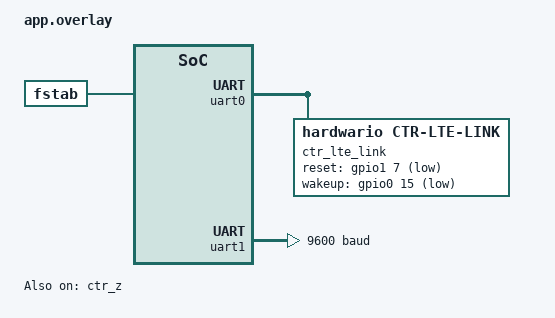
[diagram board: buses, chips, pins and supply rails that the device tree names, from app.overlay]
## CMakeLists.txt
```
#
# Copyright (c) 2024 HARDWARIO a.s.
#
# SPDX-License-Identifier: LicenseRef-HARDWARIO-5-Clause
#

cmake_minimum_required(VERSION 3.20.0)

set(ENV{FW_BUNDLE} "com.hardwario.chester.app.wmbus")
set(ENV{FW_NAME} "CHESTER wM-Bus")

# Derive firmware version from git (see scripts/version.cmake); the fallback is
# used when git is unavailable at build time.
set(FW_VERSION_FALLBACK "v3.4.0")
include(${CMAKE_CURRENT_SOURCE_DIR}/../../scripts/version.cmake)

find_package(Zephyr REQUIRED HINTS $ENV{ZEPHYR_BASE})

project(chester-wmbus)

include(${ZEPHYR_CHESTER_MODULE_DIR}/scripts/app_codec.cmake)

target_sources(app PRIVATE src/app_cbor.c)
target_sources(app PRIVATE src/app_config.c)
target_sources(app PRIVATE src/app_data.c)
target_sources(app PRIVATE src/app_handler.c)
target_sources(app PRIVATE src/app_init.c)
target_sources(app PRIVATE src/app_send.c)
target_sources(app PRIVATE src/app_sensor.c)
target_sources(app PRIVATE src/app_shell.c)
target_sources(app PRIVATE src/app_work.c)
target_sources(app PRIVATE src/main.c)
target_sources(app PRIVATE src/packet.c)
target_sources(app PRIVATE src/wmbus.c)

target_precompile_headers(app PRIVATE src/feature.h)

# ### Preserved code "cmake" (begin)
# ^^^ Preserved code "cmake" (end)
```

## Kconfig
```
#
# Copyright (c) 2024 HARDWARIO a.s.
#
# SPDX-License-Identifier: LicenseRef-HARDWARIO-5-Clause
#

menu "Application"

# HARDWARE-CHESTER-Z
config SHIELD_CTR_Z
	bool "Enable SHIELD_CTR_Z"
	default y

config CTR_Z
	default y

config I2C
	default y
# SUBSYSTEM-LTE-V2
config SHIELD_CTR_LTE_V2
	bool "Enable SHIELD_CTR_LTE_V2"
	default y

config CTR_LTE_V2
	default y

# ### Preserved code "k_config" (begin)
# ^^^ Preserved code "k_config" (end)

rsource "Kconfig.variant"

endmenu

menu "Zephyr Kernel"
source "Kconfig.zephyr"
endmenu
```

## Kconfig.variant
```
#
# Copyright (c) 2024 HARDWARIO a.s.
#
# SPDX-License-Identifier: LicenseRef-HARDWARIO-5-Clause
#

config VARIANT_CHESTER_WM_BUS
    bool "Enable VARIANT_CHESTER_WM_BUS"
    default y
```

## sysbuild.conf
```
SB_CONFIG_BOOTLOADER_MCUBOOT=y
SB_CONFIG_MCUBOOT_MODE_SWAP_SCRATCH=y
SB_CONFIG_MERGED_HEX_FILES=y
```

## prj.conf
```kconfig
#
# Copyright (c) 2024 HARDWARIO a.s.
#
# SPDX-License-Identifier: LicenseRef-HARDWARIO-5-Clause
#

# Configurations
# SUBSYSTEM-ACCEL
CONFIG_CTR_ACCEL=y
# SUBSYSTEM-BATT
CONFIG_CTR_BATT=y
# SUBSYSTEM-BLUETOOTH
CONFIG_CTR_BLE=y
# SUBSYSTEM-BUF
CONFIG_CTR_BUF=y
# SUBSYSTEM-BUTTON
CONFIG_CTR_BUTTON=y
# SUBSYSTEM-CLOUD
CONFIG_CTR_CLOUD=y
CONFIG_SETTINGS_SHELL=y
CONFIG_IMG_MANAGER=y
CONFIG_BOOTLOADER_MCUBOOT=y
CONFIG_SPI=y
CONFIG_DFU_TARGET=y
CONFIG_DFU_TARGET_STREAM=y
CONFIG_DFU_TARGET_MCUBOOT=y
CONFIG_DFU_TARGET_LOG_LEVEL_DBG=y
CONFIG_STREAM_FLASH_ERASE=y
CONFIG_STREAM_FLASH=y
CONFIG_FILE_SYSTEM=y
CONFIG_FILE_SYSTEM_LITTLEFS=y
CONFIG_FILE_SYSTEM_MKFS=y
CONFIG_FILE_SYSTEM_SHELL=y
CONFIG_SETTINGS_FILE=y
CONFIG_SETTINGS_FILE_PATH="/lfs1/settings/run"
# SUBSYSTEM-DEFAULTS
CONFIG_CTR_DEFAULTS=y
# SUBSYSTEM-GPIO
CONFIG_CTR_GPIO=y
# SUBSYSTEM-INFO
CONFIG_CTR_INFO=y
# SUBSYSTEM-LED
CONFIG_CTR_LED=y
# SUBSYSTEM-LOG
CONFIG_CTR_LOG=y
# SUBSYSTEM-LTE-V2
CONFIG_CTR_LTE_V2=y
# SUBSYSTEM-POWER
CONFIG_CTR_POWER=y
# SUBSYSTEM-RTC
CONFIG_CTR_RTC=y
# SUBSYSTEM-SHELL
CONFIG_CTR_SHELL=y
# SUBSYSTEM-THERM
CONFIG_CTR_THERM=y
# SUBSYSTEM-WDOG
CONFIG_CTR_WDOG=y
# SUBSYSTEM-ZCBOR
CONFIG_ZCBOR=y
CONFIG_ZCBOR_STOP_ON_ERROR=y
# Extra configurations
CONFIG_GPIO_SHELL=y
CONFIG_I2C_SHELL=y
CONFIG_ISR_TABLES_LOCAL_DECLARATION=y
CONFIG_LTO=y
CONFIG_MCUBOOT_SHELL=y

# ### Preserved code "config" (begin)
CONFIG_BUILD_OUTPUT_META=y
CONFIG_BUILD_OUTPUT_META_STATE_PROPAGATE=y
CONFIG_HWINFO=y
CONFIG_UART_INTERRUPT_DRIVEN=y
CONFIG_UART_0_INTERRUPT_DRIVEN=n
CONFIG_UART_USE_RUNTIME_CONFIGURE=y
CONFIG_SERIAL=y
CONFIG_PM_DEVICE=y
CONFIG_SYS_HEAP_RUNTIME_STATS=y
CONFIG_SYS_HEAP_INFO=y
# ^^^ Preserved code "config" (end)
```

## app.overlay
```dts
/*
 * Copyright (c) 2024 HARDWARIO a.s.
 *
 * SPDX-License-Identifier: LicenseRef-HARDWARIO-5-Clause
 */

/* HARDWARE-CHESTER-Z  */
&ctr_z {
	status = "okay";
};
/* SUBSYSTEM-CLOUD  */
/ {
	fstab {
		compatible = "zephyr,fstab";
		lfs1: lfs1 {
			compatible = "zephyr,fstab,littlefs";
			mount-point = "/lfs1";
			partition = <&littlefs_storage>;
			automount;
			read-size = <16>;
			prog-size = <16>;
			cache-size = <64>;
			lookahead-size = <32>;
			block-cycles = <512>;
		};
	};
};
/* SUBSYSTEM-LTE-V2  */
/ {
	chosen {
		ctr,lte_link = &ctr_lte_link;
	};
};

&uart0 {
	status = "okay";

	ctr_lte_link: ctr_lte_link {
		compatible = "hardwario,ctr-lte-link";
		status = "okay";
		reset-gpios = <&gpio1 7 (GPIO_ACTIVE_LOW | GPIO_OPEN_DRAIN)>;
		wakeup-gpios = <&gpio0 15 (GPIO_ACTIVE_LOW | GPIO_OPEN_DRAIN)>;
	};
};

&uart0 {
	status = "okay";
};

/* ### Preserved code "overlay" (begin) */
&uart1 {
	current-speed = <9600>;
	status = "okay";
};

/* CHESTER-U1 to Wurth module pin definitions */
&pinctrl {
	uart1_default: uart1_default {
		group1 {
			psels = <NRF_PSEL(UART_TX, 0, 30)>;
		};
		group2 {
			psels = <NRF_PSEL(UART_RX, 0, 28)>;
			bias-pull-up;
		};
	};

	uart1_sleep: uart1_sleep {
		group1 {
			psels = <NRF_PSEL(UART_TX, 0, 30)>,
					<NRF_PSEL(UART_RX, 0, 28)>;
			low-power-enable;
		};
	};
};
/* ^^^ Preserved code "overlay" (end) */
```

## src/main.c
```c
/*
 * Copyright (c) 2024 HARDWARIO a.s.
 *
 * SPDX-License-Identifier: LicenseRef-HARDWARIO-5-Clause
 */

#include "app_init.h"
#include "app_config.h"

/* CHESTER includes */
#include <chester/ctr_led.h>
#include <chester/ctr_wdog.h>
#include <chester/ctr_cloud.h>
#include <chester/ctr_rtc.h>

/* Zephyr includes */
#include <zephyr/kernel.h>
#include <zephyr/logging/log.h>

/* Standard includes */
#include <stdbool.h>

LOG_MODULE_REGISTER(main, LOG_LEVEL_DBG);

extern struct ctr_wdog_channel g_app_wdog_channel;

static bool should_feed_watchdog(void);

int main(void)
{
	int ret;

	LOG_INF("Build time: " __DATE__ " " __TIME__);

	ret = app_init();
	if (ret) {
		LOG_ERR("Call `app_init` failed: %d", ret);
		k_oops();
	}

	for (;;) {
		k_sleep(K_SECONDS(5));
		LOG_INF("Alive");

		if (should_feed_watchdog()) {
			ret = ctr_wdog_feed(&g_app_wdog_channel);
			if (ret) {
				LOG_ERR("Call `ctr_wdog_feed` failed: %d", ret);
				k_oops();
			}
		}
	}

	return 0;
}

static bool should_feed_watchdog(void)
{

#if defined(FEATURE_SUBSYSTEM_LTE_V2)
	int ret;

	if (g_app_config.mode == APP_CONFIG_MODE_LTE) {

		if (g_app_config.downlink_wdg_interval) {
			int64_t downlink_ts;
			ret = ctr_cloud_get_last_seen_ts(&downlink_ts);

			if (ret) {
				LOG_WRN("No downlink timestamp");
				return false;
			}

			int64_t current_ts;
			ret = ctr_rtc_get_ts(&current_ts);
			if (ret) {
				LOG_ERR("Call `ctr_rtc_get_ts` failed: %d", ret);
				return false;
			}

			int64_t diff_ts = current_ts - downlink_ts;
			if (diff_ts > g_app_config.downlink_wdg_interval) {
				LOG_WRN("Downlink ts bigger than interval! %lld", diff_ts);
				return false;
			}
		}
	}
#endif /* defined(FEATURE_SUBSYSTEM_LTE_V2) */

	return true;
}
```

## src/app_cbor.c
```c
/*
 * Copyright (c) 2024 HARDWARIO a.s.
 *
 * SPDX-License-Identifier: LicenseRef-HARDWARIO-5-Clause
 */

#include "app_cbor.h"
#include "app_codec.h"
#include "app_config.h"
#include "app_data.h"
#include "packet.h"

/* CHESTER includes */
#include <chester/ctr_info.h>
#include <chester/ctr_lte_v2.h>
#include <chester/ctr_power.h>
#include <chester/ctr_rtc.h>

/* Zephyr includes */
#include <zephyr/kernel.h>
#include <zephyr/logging/log.h>

#include <zcbor_common.h>
#include <zcbor_encode.h>

/* Standard includes */
#include <errno.h>
#include <math.h>
#include <stddef.h>
#include <stdint.h>
#include <stdlib.h>

LOG_MODULE_REGISTER(app_cbor, LOG_LEVEL_DBG);

int encode(zcbor_state_t *zs, uint8_t *buf)
{
	int ret;

	zs->constant_state->stop_on_error = true;

	zcbor_map_start_encode(zs, ZCBOR_VALUE_IS_INDEFINITE_LENGTH);

	zcbor_uint32_put(zs, CODEC_KEY_E_FRAME);
	{
		zcbor_map_start_encode(zs, ZCBOR_VALUE_IS_INDEFINITE_LENGTH);

		uint8_t protocol = 3;
		zcbor_uint32_put(zs, CODEC_KEY_E_FRAME__PROTOCOL);
		zcbor_uint32_put(zs, protocol);

		static uint32_t sequence;
		zcbor_uint32_put(zs, CODEC_KEY_E_FRAME__SEQUENCE);
		zcbor_uint32_put(zs, sequence++);

		uint64_t timestamp;
		ret = ctr_rtc_get_ts(&timestamp);
		if (ret) {
			LOG_ERR("Call `ctr_rtc_get_ts` failed: %d", ret);
			return ret;
		}

		zcbor_uint32_put(zs, CODEC_KEY_E_FRAME__TIMESTAMP);
		zcbor_uint64_put(zs, timestamp);

		zcbor_map_end_encode(zs, ZCBOR_VALUE_IS_INDEFINITE_LENGTH);
	}

	zcbor_uint32_put(zs, CODEC_KEY_E_STATE);
	{
		zcbor_map_start_encode(zs, ZCBOR_VALUE_IS_INDEFINITE_LENGTH);

		zcbor_uint32_put(zs, CODEC_KEY_E_STATE__UPTIME);
		zcbor_uint64_put(zs, k_uptime_get() / 1000);

		zcbor_map_end_encode(zs, ZCBOR_VALUE_IS_INDEFINITE_LENGTH);
	}

#if defined(FEATURE_SUBSYSTEM_POWER)
	ret = ctr_power_cbor_encode(zs);
	if (ret) {
		LOG_ERR("Call `ctr_power_cbor_encode` failed: %d", ret);
		return ret;
	}
#endif /* defined(FEATURE_SUBSYSTEM_POWER) */

	zcbor_uint32_put(zs, CODEC_KEY_E_NETWORK);
	{
		zcbor_map_start_encode(zs, ZCBOR_VALUE_IS_INDEFINITE_LENGTH);

		zcbor_uint32_put(zs, CODEC_KEY_E_NETWORK__PARAMETER);
		{
			zcbor_map_start_encode(zs, ZCBOR_VALUE_IS_INDEFINITE_LENGTH);

			struct ctr_lte_v2_conn_param param;
			ret = ctr_lte_v2_get_conn_param(&param);
			if (ret) {
				LOG_ERR("Call `ctr_lte_v2_get_conn_param` failed: %d", ret);
				return ret;
			}

			zcbor_uint32_put(zs, CODEC_KEY_E_NETWORK__PARAMETER__EEST);
			if (param.valid) {
				zcbor_int32_put(zs, param.eest);
			} else {
				zcbor_nil_put(zs, NULL);
			}

			zcbor_uint32_put(zs, CODEC_KEY_E_NETWORK__PARAMETER__ECL);
			if (param.valid) {
				zcbor_int32_put(zs, param.ecl);
			} else {
				zcbor_nil_put(zs, NULL);
			}

			zcbor_uint32_put(zs, CODEC_KEY_E_NETWORK__PARAMETER__RSRP);
			if (param.valid) {
				zcbor_int32_put(zs, param.rsrp);
			} else {
				zcbor_nil_put(zs, NULL);
			}

			zcbor_uint32_put(zs, CODEC_KEY_E_NETWORK__PARAMETER__RSRQ);
			if (param.valid) {
				zcbor_int32_put(zs, param.rsrq);
			} else {
				zcbor_nil_put(zs, NULL);
			}

			zcbor_uint32_put(zs, CODEC_KEY_E_NETWORK__PARAMETER__SNR);
			if (param.valid) {
				zcbor_int32_put(zs, param.snr);
			} else {
				zcbor_nil_put(zs, NULL);
			}

			zcbor_uint32_put(zs, CODEC_KEY_E_NETWORK__PARAMETER__PLMN);
			if (param.valid) {
				zcbor_int32_put(zs, param.plmn);
			} else {
				zcbor_nil_put(zs, NULL);
			}

			zcbor_uint32_put(zs, CODEC_KEY_E_NETWORK__PARAMETER__CID);
			if (param.valid) {
				zcbor_int32_put(zs, param.cid);
			} else {
				zcbor_nil_put(zs, NULL);
			}

			zcbor_uint32_put(zs, CODEC_KEY_E_NETWORK__PARAMETER__BAND);
			if (param.valid) {
				zcbor_int32_put(zs, param.band);
			} else {
				zcbor_nil_put(zs, NULL);
			}

			zcbor_uint32_put(zs, CODEC_KEY_E_NETWORK__PARAMETER__EARFCN);
			if (param.valid) {
				zcbor_int32_put(zs, param.earfcn);
			} else {
				zcbor_nil_put(zs, NULL);
			}

			zcbor_map_end_encode(zs, ZCBOR_VALUE_IS_INDEFINITE_LENGTH);
		}

		zcbor_map_end_encode(zs, ZCBOR_VALUE_IS_INDEFINITE_LENGTH);
	}

	zcbor_uint32_put(zs, CODEC_KEY_E_THERMOMETER);
	{
		zcbor_map_start_encode(zs, ZCBOR_VALUE_IS_INDEFINITE_LENGTH);

		zcbor_uint32_put(zs, CODEC_KEY_E_THERMOMETER__TEMPERATURE);
		if (isnan(g_app_data.therm_temperature)) {
			zcbor_nil_put(zs, NULL);
		} else {
			zcbor_int32_put(zs, g_app_data.therm_temperature * 100.f);
		}

		zcbor_map_end_encode(zs, ZCBOR_VALUE_IS_INDEFINITE_LENGTH);
	}

	zcbor_uint32_put(zs, CODEC_KEY_E_ACCELEROMETER);
	{
		zcbor_map_start_encode(zs, ZCBOR_VALUE_IS_INDEFINITE_LENGTH);

		zcbor_uint32_put(zs, CODEC_KEY_E_ACCELEROMETER__ACCEL_X);
		if (isnan(g_app_data.accel_acceleration_x)) {
			zcbor_nil_put(zs, NULL);
		} else {
			zcbor_int32_put(zs, g_app_data.accel_acceleration_x * 1000.f);
		}

		zcbor_uint32_put(zs, CODEC_KEY_E_ACCELEROMETER__ACCEL_Y);
		if (isnan(g_app_data.accel_acceleration_y)) {
			zcbor_nil_put(zs, NULL);
		} else {
			zcbor_int32_put(zs, g_app_data.accel_acceleration_y * 1000.f);
		}

		zcbor_uint32_put(zs, CODEC_KEY_E_ACCELEROMETER__ACCEL_Z);
		if (isnan(g_app_data.accel_acceleration_z)) {
			zcbor_nil_put(zs, NULL);
		} else {
			zcbor_int32_put(zs, g_app_data.accel_acceleration_z * 1000.f);
		}

		zcbor_uint32_put(zs, CODEC_KEY_E_ACCELEROMETER__ORIENTATION);
		if (g_app_data.accel_orientation == INT_MAX) {
			zcbor_nil_put(zs, NULL);
		} else {
			zcbor_uint32_put(zs, g_app_data.accel_orientation);
		}

		zcbor_map_end_encode(zs, ZCBOR_VALUE_IS_INDEFINITE_LENGTH);
	}

	zcbor_uint32_put(zs, CODEC_KEY_E_WMBUS);
	{
		zcbor_map_start_encode(zs, ZCBOR_VALUE_IS_INDEFINITE_LENGTH);

		/*zcbor_uint32_put(zs, CODEC_KEY_E_WMBUS__SCAN_MODE);
		zcbor_uint32_put(zs, g_app_config.scan_mode);

		zcbor_uint32_put(zs, CODEC_KEY_E_WMBUS__SCAN_ANT);
		zcbor_uint32_put(zs, g_app_config.scan_ant);*/

		uint32_t diff_secs =
			(g_app_data.scan_stop_timestamp - g_app_data.scan_start_timestamp) / 1000;
		zcbor_uint32_put(zs, CODEC_KEY_E_WMBUS__SCAN_TIME);
		zcbor_uint32_put(zs, diff_secs);

		size_t packet_pushed_count;
		packet_get_pushed_count(&packet_pushed_count);
		zcbor_uint32_put(zs, CODEC_KEY_E_WMBUS__RECEIVED);
		zcbor_uint32_put(zs, packet_pushed_count);

		size_t config_device_count;
		wmbus_get_config_device_count(&config_device_count);
		zcbor_uint32_put(zs, CODEC_KEY_E_WMBUS__DEVICES);
		zcbor_uint32_put(zs, config_device_count);

		atomic_val_t tran_count = atomic_get(&g_app_data.scan_transaction);
		zcbor_uint32_put(zs, CODEC_KEY_E_WMBUS__CYCLE);
		zcbor_uint32_put(zs, tran_count);

		atomic_val_t index = atomic_get(&g_app_data.send_index);
		zcbor_uint32_put(zs, CODEC_KEY_E_WMBUS__PART);
		zcbor_uint32_put(zs, index);

		static uint8_t packet[512];

		// Add 20 wM-BUS packets to every LTE packet
		if (g_app_config.cloud_decode) {
			zcbor_uint32_put(zs, CODEC_KEY_E_WMBUS__PACKETS_CLOUD_DECODE);
			{
				zcbor_list_start_encode(zs, ZCBOR_VALUE_IS_INDEFINITE_LENGTH);

				for (int i = 0; i < 20; i++) {
					size_t next_size;
					ret = packet_get_next_size(&next_size);
					if (next_size == 0) {
						LOG_INF("packet_get_next_size == 0 -> break");
						break;
					}

					size_t len;
					int rssi_dbm;
					ret = packet_pop(packet, sizeof(packet), &len, &rssi_dbm);
					LOG_INF("packet_pop size %d, rssi %d", (int)len, rssi_dbm);
					if (!ret) {
						zcbor_int32_put(zs, rssi_dbm);
						zcbor_bstr_encode_ptr(zs, packet,
								      len > 512 ? 512 : len);
					}
				}

				zcbor_list_end_encode(zs, ZCBOR_VALUE_IS_INDEFINITE_LENGTH);
			}
		} else {
			zcbor_uint32_put(zs, CODEC_KEY_E_WMBUS__PACKETS);
			{
				zcbor_list_start_encode(zs, ZCBOR_VALUE_IS_INDEFINITE_LENGTH);

				for (int i = 0; i < 20; i++) {
					size_t next_size;
					ret = packet_get_next_size(&next_size);
					if (next_size == 0) {
						LOG_INF("packet_get_next_size == 0 -> break");
						break;
					}

					zcbor_map_start_encode(zs,
							       ZCBOR_VALUE_IS_INDEFINITE_LENGTH);

					size_t len;
					int rssi_dbm;
					ret = packet_pop(packet, sizeof(packet), &len, &rssi_dbm);
					LOG_INF("packet_pop size %d, rssi %d", (int)len, rssi_dbm);

					if (!ret) {
						zcbor_uint32_put(zs,
								 CODEC_KEY_E_WMBUS__PACKETS__DATA);
						zcbor_bstr_encode_ptr(zs, packet,
								      len > 512 ? 512 : len);

						zcbor_uint32_put(zs,
								 CODEC_KEY_E_WMBUS__PACKETS__RSSI);
						zcbor_int32_put(zs, rssi_dbm);
					} else {
						// On pop error, print error
						zcbor_uint32_put(zs,
								 CODEC_KEY_E_WMBUS__PACKETS__DATA);
						zcbor_uint32_put(zs, ret);
						zcbor_uint32_put(zs,
								 CODEC_KEY_E_WMBUS__PACKETS__RSSI);
						zcbor_uint32_put(zs, 1000 + next_size);
					}
					zcbor_map_end_encode(zs, ZCBOR_VALUE_IS_INDEFINITE_LENGTH);
				}

				zcbor_list_end_encode(zs, ZCBOR_VALUE_IS_INDEFINITE_LENGTH);
			}
		}

		zcbor_map_end_encode(zs, ZCBOR_VALUE_IS_INDEFINITE_LENGTH);
	}

	zcbor_map_end_encode(zs, ZCBOR_VALUE_IS_INDEFINITE_LENGTH);

	if (!zcbor_check_error(zs)) {
		LOG_ERR("Encoding failed: %d", zcbor_pop_error(zs));
		return -EFAULT;
	}

	return 0;
}

int app_cbor_encode(zcbor_state_t *zs, uint8_t *buf)
{
	int ret;

	app_data_lock();

	ret = encode(zs, buf);
	if (ret) {
		LOG_ERR("Call `encode` failed: %d", ret);
		app_data_unlock();
		return ret;
	}

	app_data_unlock();

	return 0;
}

/*int app_cbor_decode(zcbor_state_t *zs)
{
	int ret;

	app_data_lock();

	ret = decode(zs);
	if (ret) {
		LOG_ERR("Call `decode` failed: %d", ret);
		app_data_unlock();
		return ret;
	}

	app_data_unlock();

	return 0;
}*/
```

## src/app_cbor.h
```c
#ifndef APP_CBOR_H_
#define APP_CBOR_H_

/* Zephyr includes */
#include <zephyr/kernel.h>

#include <zcbor_common.h>

#ifdef __cplusplus
extern "C" {
#endif

int app_cbor_encode(zcbor_state_t *zs, uint8_t *buf);

#ifdef __cplusplus
}
#endif

#endif /* APP_CBOR_H_ */
```

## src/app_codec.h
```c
#ifndef CODEC_H_
#define CODEC_H_

/* This file has been generated using the script gen-codec.py */

#ifdef __cplusplus
extern "C" {
#endif

#define CODEC_CLOUD_DECODER_HASH ((uint64_t)0xceba4fff624f52fa)
#define CODEC_CLOUD_ENCODER_HASH ((uint64_t)0x0000000000000000)

enum codec_key_e {
	CODEC_KEY_E_FRAME = 0,
	CODEC_KEY_E_FRAME__PROTOCOL = 1,
	CODEC_KEY_E_FRAME__SEQUENCE = 2,
	CODEC_KEY_E_FRAME__TIMESTAMP = 3,
	CODEC_KEY_E_ATTRIBUTE = 4,
	CODEC_KEY_E_ATTRIBUTE__VENDOR_NAME = 5,
	CODEC_KEY_E_ATTRIBUTE__PRODUCT_NAME = 6,
	CODEC_KEY_E_ATTRIBUTE__HW_VARIANT = 7,
	CODEC_KEY_E_ATTRIBUTE__HW_REVISION = 8,
	CODEC_KEY_E_ATTRIBUTE__FW_VERSION = 9,
	CODEC_KEY_E_ATTRIBUTE__SERIAL_NUMBER = 10,
	CODEC_KEY_E_STATE = 11,
	CODEC_KEY_E_STATE__UPTIME = 12,
	CODEC_KEY_E_BATTERY = 13,
	CODEC_KEY_E_BATTERY__VOLTAGE_REST = 14,
	CODEC_KEY_E_BATTERY__VOLTAGE_LOAD = 15,
	CODEC_KEY_E_BATTERY__CURRENT_LOAD = 16,
	CODEC_KEY_E_NETWORK = 17,
	CODEC_KEY_E_NETWORK__IMEI = 18,
	CODEC_KEY_E_NETWORK__IMSI = 19,
	CODEC_KEY_E_NETWORK__PARAMETER = 20,
	CODEC_KEY_E_NETWORK__PARAMETER__EEST = 21,
	CODEC_KEY_E_NETWORK__PARAMETER__ECL = 22,
	CODEC_KEY_E_NETWORK__PARAMETER__RSRP = 23,
	CODEC_KEY_E_NETWORK__PARAMETER__RSRQ = 24,
	CODEC_KEY_E_NETWORK__PARAMETER__SNR = 25,
	CODEC_KEY_E_NETWORK__PARAMETER__PLMN = 26,
	CODEC_KEY_E_NETWORK__PARAMETER__CID = 27,
	CODEC_KEY_E_NETWORK__PARAMETER__BAND = 28,
	CODEC_KEY_E_NETWORK__PARAMETER__EARFCN = 29,
	CODEC_KEY_E_THERMOMETER = 30,
	CODEC_KEY_E_THERMOMETER__TEMPERATURE = 31,
	CODEC_KEY_E_ACCELEROMETER = 32,
	CODEC_KEY_E_ACCELEROMETER__ACCEL_X = 33,
	CODEC_KEY_E_ACCELEROMETER__ACCEL_Y = 34,
	CODEC_KEY_E_ACCELEROMETER__ACCEL_Z = 35,
	CODEC_KEY_E_ACCELEROMETER__ORIENTATION = 36,
	CODEC_KEY_E_WMBUS = 37,
	CODEC_KEY_E_WMBUS__SCAN_MODE = 38,
	CODEC_KEY_E_WMBUS__SCAN_ANT = 39,
	CODEC_KEY_E_WMBUS__SCAN_TIME = 40,
	CODEC_KEY_E_WMBUS__RECEIVED = 41,
	CODEC_KEY_E_WMBUS__DEVICES = 42,
	CODEC_KEY_E_WMBUS__CYCLE = 43,
	CODEC_KEY_E_WMBUS__PART = 44,
	CODEC_KEY_E_WMBUS__PACKETS = 45,
	CODEC_KEY_E_WMBUS__PACKETS__DATA = 46,
	CODEC_KEY_E_WMBUS__PACKETS__RSSI = 47,
	CODEC_KEY_E_WMBUS__PACKETS_CLOUD_DECODE = 48,
};

#define CODEC_CLOUD_OPTIONS_STATIC(_name) \
	static const uint8_t _name##_cloud_decoder[] = CLOUD_DECODER_BUFFER; \
	static struct ctr_cloud_options _name = { \
		.decoder_hash = CODEC_CLOUD_DECODER_HASH, \
		.encoder_hash = CODEC_CLOUD_ENCODER_HASH, \
		.decoder_buf = _name##_cloud_decoder, \
		.decoder_len = 759, \
		.encoder_buf = NULL, \
		.encoder_len = 0, \
}

#define CLOUD_DECODER_BUFFER { \
	0xa4, 0x67, 0x76, 0x65, 0x72, 0x73, 0x69, 0x6f, \
	0x6e, 0x02, 0x64, 0x74, 0x79, 0x70, 0x65, 0x67, \
	0x64, 0x65, 0x63, 0x6f, 0x64, 0x65, 0x72, 0x64, \
	0x6e, 0x61, 0x6d, 0x65, 0x73, 0x63, 0x6f, 0x6d, \
	0x2e, 0x68, 0x61, 0x72, 0x64, 0x77, 0x61, 0x72, \
	0x69, 0x6f, 0x2e, 0x77, 0x6d, 0x62, 0x75, 0x73, \
	0x66, 0x73, 0x63, 0x68, 0x65, 0x6d, 0x61, 0x88, \
	0xa1, 0x65, 0x66, 0x72, 0x61, 0x6d, 0x65, 0x83, \
	0xa1, 0x68, 0x70, 0x72, 0x6f, 0x74, 0x6f, 0x63, \
	0x6f, 0x6c, 0xf6, 0xa1, 0x68, 0x73, 0x65, 0x71, \
	0x75, 0x65, 0x6e, 0x63, 0x65, 0xf6, 0xa1, 0x69, \
	0x74, 0x69, 0x6d, 0x65, 0x73, 0x74, 0x61, 0x6d, \
	0x70, 0xf6, 0xa1, 0x69, 0x61, 0x74, 0x74, 0x72, \
	0x69, 0x62, 0x75, 0x74, 0x65, 0x86, 0xa1, 0x6b, \
	0x76, 0x65, 0x6e, 0x64, 0x6f, 0x72, 0x5f, 0x6e, \
	0x61, 0x6d, 0x65, 0xf6, 0xa1, 0x6c, 0x70, 0x72, \
	0x6f, 0x64, 0x75, 0x63, 0x74, 0x5f, 0x6e, 0x61, \
	0x6d, 0x65, 0xf6, 0xa1, 0x6a, 0x68, 0x77, 0x5f, \
	0x76, 0x61, 0x72, 0x69, 0x61, 0x6e, 0x74, 0xf6, \
	0xa1, 0x6b, 0x68, 0x77, 0x5f, 0x72, 0x65, 0x76, \
	0x69, 0x73, 0x69, 0x6f, 0x6e, 0xf6, 0xa1, 0x6a, \
	0x66, 0x77, 0x5f, 0x76, 0x65, 0x72, 0x73, 0x69, \
	0x6f, 0x6e, 0xf6, 0xa1, 0x6d, 0x73, 0x65, 0x72, \
	0x69, 0x61, 0x6c, 0x5f, 0x6e, 0x75, 0x6d, 0x62, \
	0x65, 0x72, 0xf6, 0xa1, 0x65, 0x73, 0x74, 0x61, \
	0x74, 0x65, 0x81, 0xa1, 0x66, 0x75, 0x70, 0x74, \
	0x69, 0x6d, 0x65, 0xf6, 0xa1, 0x67, 0x62, 0x61, \
	0x74, 0x74, 0x65, 0x72, 0x79, 0x83, 0xa1, 0x6c, \
	0x76, 0x6f, 0x6c, 0x74, 0x61, 0x67, 0x65, 0x5f, \
	0x72, 0x65, 0x73, 0x74, 0x82, 0xa1, 0x64, 0x24, \
	0x64, 0x69, 0x76, 0x19, 0x03, 0xe8, 0xa1, 0x64, \
	0x24, 0x66, 0x70, 0x70, 0x02, 0xa1, 0x6c, 0x76, \
	0x6f, 0x6c, 0x74, 0x61, 0x67, 0x65, 0x5f, 0x6c, \
	0x6f, 0x61, 0x64, 0x82, 0xa1, 0x64, 0x24, 0x64, \
	0x69, 0x76, 0x19, 0x03, 0xe8, 0xa1, 0x64, 0x24, \
	0x66, 0x70, 0x70, 0x02, 0xa1, 0x6c, 0x63, 0x75, \
	0x72, 0x72, 0x65, 0x6e, 0x74, 0x5f, 0x6c, 0x6f, \
	0x61, 0x64, 0xf6, 0xa1, 0x67, 0x6e, 0x65, 0x74, \
	0x77, 0x6f, 0x72, 0x6b, 0x83, 0xa1, 0x64, 0x69, \
	0x6d, 0x65, 0x69, 0xf6, 0xa1, 0x64, 0x69, 0x6d, \
	0x73, 0x69, 0xf6, 0xa1, 0x69, 0x70, 0x61, 0x72, \
	0x61, 0x6d, 0x65, 0x74, 0x65, 0x72, 0x89, 0xa1, \
	0x64, 0x65, 0x65, 0x73, 0x74, 0xf6, 0xa1, 0x63, \
	0x65, 0x63, 0x6c, 0xf6, 0xa1, 0x64, 0x72, 0x73, \
	0x72, 0x70, 0xf6, 0xa1, 0x64, 0x72, 0x73, 0x72, \
	0x71, 0xf6, 0xa1, 0x63, 0x73, 0x6e, 0x72, 0xf6, \
	0xa1, 0x64, 0x70, 0x6c, 0x6d, 0x6e, 0xf6, 0xa1, \
	0x63, 0x63, 0x69, 0x64, 0xf6, 0xa1, 0x64, 0x62, \
	0x61, 0x6e, 0x64, 0xf6, 0xa1, 0x66, 0x65, 0x61, \
	0x72, 0x66, 0x63, 0x6e, 0xf6, 0xa1, 0x6b, 0x74, \
	0x68, 0x65, 0x72, 0x6d, 0x6f, 0x6d, 0x65, 0x74, \
	0x65, 0x72, 0x81, 0xa1, 0x6b, 0x74, 0x65, 0x6d, \
	0x70, 0x65, 0x72, 0x61, 0x74, 0x75, 0x72, 0x65, \
	0x82, 0xa1, 0x64, 0x24, 0x64, 0x69, 0x76, 0x18, \
	0x64, 0xa1, 0x64, 0x24, 0x66, 0x70, 0x70, 0x02, \
	0xa1, 0x6d, 0x61, 0x63, 0x63, 0x65, 0x6c, 0x65, \
	0x72, 0x6f, 0x6d, 0x65, 0x74, 0x65, 0x72, 0x84, \
	0xa1, 0x67, 0x61, 0x63, 0x63, 0x65, 0x6c, 0x5f, \
	0x78, 0x82, 0xa1, 0x64, 0x24, 0x64, 0x69, 0x76, \
	0x19, 0x03, 0xe8, 0xa1, 0x64, 0x24, 0x66, 0x70, \
	0x70, 0x02, 0xa1, 0x67, 0x61, 0x63, 0x63, 0x65, \
	0x6c, 0x5f, 0x79, 0x82, 0xa1, 0x64, 0x24, 0x64, \
	0x69, 0x76, 0x19, 0x03, 0xe8, 0xa1, 0x64, 0x24, \
	0x66, 0x70, 0x70, 0x02, 0xa1, 0x67, 0x61, 0x63, \
	0x63, 0x65, 0x6c, 0x5f, 0x7a, 0x82, 0xa1, 0x64, \
	0x24, 0x64, 0x69, 0x76, 0x19, 0x03, 0xe8, 0xa1, \
	0x64, 0x24, 0x66, 0x70, 0x70, 0x02, 0xa1, 0x6b, \
	0x6f, 0x72, 0x69, 0x65, 0x6e, 0x74, 0x61, 0x74, \
	0x69, 0x6f, 0x6e, 0xf6, 0xa1, 0x65, 0x77, 0x6d, \
	0x62, 0x75, 0x73, 0x89, 0xa1, 0x69, 0x73, 0x63, \
	0x61, 0x6e, 0x5f, 0x6d, 0x6f, 0x64, 0x65, 0x81, \
	0xa1, 0x65, 0x24, 0x65, 0x6e, 0x75, 0x6d, 0x85, \
	0x63, 0x6f, 0x66, 0x66, 0x68, 0x69, 0x6e, 0x74, \
	0x65, 0x72, 0x76, 0x61, 0x6c, 0x65, 0x64, 0x61, \
	0x69, 0x6c, 0x79, 0x66, 0x77, 0x65, 0x65, 0x6b, \
	0x6c, 0x79, 0x67, 0x6d, 0x6f, 0x6e, 0x74, 0x68, \
	0x6c, 0x79, 0xa1, 0x68, 0x73, 0x63, 0x61, 0x6e, \
	0x5f, 0x61, 0x6e, 0x74, 0x81, 0xa1, 0x65, 0x24, \
	0x65, 0x6e, 0x75, 0x6d, 0x82, 0x66, 0x73, 0x69, \
	0x6e, 0x67, 0x6c, 0x65, 0x64, 0x64, 0x75, 0x61, \
	0x6c, 0xa1, 0x69, 0x73, 0x63, 0x61, 0x6e, 0x5f, \
	0x74, 0x69, 0x6d, 0x65, 0xf6, 0xa1, 0x68, 0x72, \
	0x65, 0x63, 0x65, 0x69, 0x76, 0x65, 0x64, 0xf6, \
	0xa1, 0x67, 0x64, 0x65, 0x76, 0x69, 0x63, 0x65, \
	0x73, 0xf6, 0xa1, 0x65, 0x63, 0x79, 0x63, 0x6c, \
	0x65, 0xf6, 0xa1, 0x64, 0x70, 0x61, 0x72, 0x74, \
	0xf6, 0xa1, 0x67, 0x70, 0x61, 0x63, 0x6b, 0x65, \
	0x74, 0x73, 0x82, 0xa1, 0x64, 0x64, 0x61, 0x74, \
	0x61, 0xf6, 0xa1, 0x64, 0x72, 0x73, 0x73, 0x69, \
	0xf6, 0xa1, 0x74, 0x70, 0x61, 0x63, 0x6b, 0x65, \
	0x74, 0x73, 0x5f, 0x63, 0x6c, 0x6f, 0x75, 0x64, \
	0x5f, 0x64, 0x65, 0x63, 0x6f, 0x64, 0x65, 0x82, \
	0xa1, 0x64, 0x24, 0x6b, 0x65, 0x79, 0x67, 0x70, \
	0x61, 0x63, 0x6b, 0x65, 0x74, 0x73, 0xa1, 0x66, \
	0x24, 0x77, 0x6d, 0x62, 0x75, 0x73, 0xf6, \
}

#ifdef __cplusplus
}
#endif

#endif /* CODEC_H_ */
```

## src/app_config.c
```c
/*
 * Copyright (c) 2024 HARDWARIO a.s.
 *
 * SPDX-License-Identifier: LicenseRef-HARDWARIO-5-Clause
 */

#include "app_config.h"

/* CHESTER includes */
#include <chester/ctr_config.h>

/* Zephyr includes */
#include <zephyr/init.h>
#include <zephyr/kernel.h>
#include <zephyr/logging/log.h>
#include <zephyr/settings/settings.h>
#include <zephyr/shell/shell.h>

/* Standard includes */
#include <stdbool.h>
#include <stdio.h>
#include <stdlib.h>
#include <string.h>

/* ### Preserved code "includes" (begin) */
#include <ctype.h>
#include "app_data.h"
/* ^^^ Preserved code "includes" (end) */

LOG_MODULE_REGISTER(app_config, LOG_LEVEL_DBG);

#define SETTINGS_PFX "app-wmbus"

struct app_config g_app_config;

static struct app_config m_config_interim;

/* clang-format off */
const struct ctr_config_item items[] = {
	CTR_CONFIG_ITEM_INT("scan-timeout", m_config_interim.scan_timeout, 1, 86400, "Get/Set scan timeout.", 130),
	CTR_CONFIG_ITEM_INT("scan-interval", m_config_interim.scan_interval, 30, 604800, "Get/Set scan interval in seconds.", 600),
	CTR_CONFIG_ITEM_INT("scan-hour", m_config_interim.scan_hour, 0, 23, "Get/Set scan hour.", 12),
	CTR_CONFIG_ITEM_INT("scan-weekday", m_config_interim.scan_weekday, 0, 6, "Get/Set scan weekday.", 3),
	CTR_CONFIG_ITEM_INT("scan-day", m_config_interim.scan_day, 1, 31, "Get/Set scan day in the month.", 15),
	CTR_CONFIG_ITEM_ENUM("scan-mode", m_config_interim.scan_mode, ((const char*[]){"off", "interval", "daily", "weekly", "monthly"}), "Get/Set scan mode", 0),
	
	CTR_CONFIG_ITEM_ENUM("scan-ant", m_config_interim.scan_ant, ((const char*[]){"single", "dual"}), "Get/Set scan antenna", 0),
	
	CTR_CONFIG_ITEM_INT("poll-interval", m_config_interim.poll_interval, 5, 1209600, "Get/Set poll interval in seconds.", 28800),
	CTR_CONFIG_ITEM_INT("downlink-wdg-interval", m_config_interim.downlink_wdg_interval, 0, 1209600, "Get/Set poll interval in seconds.", 172800),
	CTR_CONFIG_ITEM_BOOL("cloud-decode", m_config_interim.cloud_decode, "Get/Set cloud decode.", false),

	CTR_CONFIG_ITEM_ENUM("mode", m_config_interim.mode, ((const char*[]){"none", "lte"}), "Set communication mode", APP_CONFIG_MODE_LTE),

	/* ### Preserved code "config" (begin) */
	/* ^^^ Preserved code "config" (end) */

};
/* clang-format on */

/* ### Preserved code "function" (begin) */
static void get_interim_config_device_count(size_t *count)
{
	*count = 0;

	for (int i = 0; i < DEVICE_MAX_COUNT; i++) {
		if (m_config_interim.address[i] != 0) {
			(*count)++;
		}
	}
}

static void print_address_count(const struct shell *shell)
{
	size_t count;
	get_interim_config_device_count(&count);

	shell_print(shell, "app config address count %d", count);
}

static void print_address(const struct shell *shell)
{
	for (int i = 0; i < ARRAY_SIZE(m_config_interim.address); i++) {
		if (m_config_interim.address[i] != 0) {
			shell_print(shell, "app config address add %d",
				    m_config_interim.address[i]);
		}
	}
}

int app_config_cmd_config_address(const struct shell *shell, size_t argc, char **argv)
{
	if (argc == 1) {
		print_address(shell);
		return 0;
	}

	if (argc == 3 && strcmp(argv[1], "add") == 0) {
		size_t len = strlen(argv[2]);

		for (size_t i = 0; i < len; i++) {
			if (!isdigit((int)argv[2][i])) {
				shell_error(shell, "invalid format");
				return -EINVAL;
			}
		}

		int address = atoi(argv[2]);

		if (address < 0 || address > UINT_MAX) {
			shell_error(shell, "invalid range");
			return -EINVAL;
		}

		/* Check if address already exists */
		for (int i = 0; i < DEVICE_MAX_COUNT; i++) {
			if (m_config_interim.address[i] == address) {
				shell_error(shell, "address already exists");
				return -EINVAL;
			}
		}

		/* Find next empty */
		int next_empty = -1;
		for (int i = 0; i < DEVICE_MAX_COUNT; i++) {
			if (m_config_interim.address[i] == 0) {
				next_empty = i;
				break;
			}
		}

		if (next_empty == -1) {
			shell_error(shell, "no empty position");
			return -EINVAL;
		}

		m_config_interim.address[next_empty] = address;

		return 0;
	}

	if (argc == 3 && strcmp(argv[1], "remove") == 0) {
		size_t len = strlen(argv[2]);

		for (size_t i = 0; i < len; i++) {
			if (!isdigit((int)argv[2][i])) {
				shell_error(shell, "invalid format");
				return -EINVAL;
			}
		}

		int address = atoi(argv[2]);

		if (address < 0 || address > UINT_MAX) {
			shell_error(shell, "invalid range");
			return -EINVAL;
		}

		int was_found = false;
		for (int i = 0; i < DEVICE_MAX_COUNT; i++) {
			if (m_config_interim.address[i] == address) {
				was_found = true;
				m_config_interim.address[i] = 0;
			}
		}

		if (!was_found) {
			shell_error(shell, "item not found");
			return -EINVAL;
		}

		return 0;
	}

	if (argc == 2 && strcmp(argv[1], "erase") == 0) {

		for (int i = 0; i < DEVICE_MAX_COUNT; i++) {
			m_config_interim.address[i] = 0;
		}

		return 0;
	}

	/* This is pseudo-parameter, it is used for downlink config and doesn't matter which number
	 * is passed, it always erase all addresses and expects that next commands will call address
	 * add to fill them again */
	if (strcmp(argv[1], "count") == 0) {
		LOG_WRN("count");

		for (int i = 0; i < DEVICE_MAX_COUNT; i++) {
			m_config_interim.address[i] = 0;
		}

		return 0;
	}

	/* DEBUG: Generate devices in config */
	if (argc == 3 && strcmp(argv[1], "gen") == 0) {
		size_t count = atoi(argv[2]);

		for (int i = 0; i < count; i++) {
			m_config_interim.address[i] = 81763000 + i;
		}

		return 0;
	}

	shell_help(shell);
	return -EINVAL;
}

int app_config_clear_address(void)
{
	for (int i = 0; i < DEVICE_MAX_COUNT; i++) {
		g_app_config.address[i] = 0;
	}

	return 0;
}

int app_config_enroll_save(void)
{
	// Save config address to interim for saving config
	memcpy(&m_config_interim.address, &g_app_config.address, sizeof(g_app_config.address));

	ctr_config_save(true);

	return 0;
}
/* ^^^ Preserved code "function" (end) */

int app_config_cmd_config_show(const struct shell *shell, size_t argc, char **argv)
{
	/* ### Preserved code "app_config_cmd_config_show start" (begin) */
	print_address_count(shell);
	print_address(shell);
	/* ^^^ Preserved code "app_config_cmd_config_show start" (end) */

	for (int i = 0; i < ARRAY_SIZE(items); i++) {
		ctr_config_show_item(shell, &items[i]);
	}

	/* ### Preserved code "app_config_cmd_config_show end" (begin) */
	/* ^^^ Preserved code "app_config_cmd_config_show end" (end) */

	return 0;
}

int app_config_cmd_config(const struct shell *shell, size_t argc, char **argv)
{
	/* ### Preserved code "app_config_cmd_config" (begin) */
	if (argc > 1 && strcmp(argv[1], "address") == 0) {
		return app_config_cmd_config_address(shell, argc - 1, argv + 1);
	}

	if (argc > 1 && strcmp(argv[1], "show") == 0) {
		print_address_count(shell);
		print_address(shell);
	}
	/* ^^^ Preserved code "app_config_cmd_config" (end) */
	return ctr_config_cmd_config(items, ARRAY_SIZE(items), shell, argc, argv);
}

static int h_set(const char *key, size_t len, settings_read_cb read_cb, void *cb_arg)
{
	/* ### Preserved code "h_set" (begin) */
	int ret;
	const char *next;
#define SETTINGS_SET_ARRAY(_key, _var, _size)                                                      \
	do {                                                                                       \
		if (settings_name_steq(key, #_key, &next) && !next) {                              \
			if (len != _size) {                                                        \
				return -EINVAL;                                                    \
			}                                                                          \
			ret = read_cb(cb_arg, _var, len);                                          \
			if (ret < 0) {                                                             \
				LOG_ERR("Call `read_cb` failed: %d", ret);                         \
				return ret;                                                        \
			}                                                                          \
			return 0;                                                                  \
		}                                                                                  \
	} while (0)

	SETTINGS_SET_ARRAY("address", &m_config_interim.address, sizeof(m_config_interim.address));

#undef SETTINGS_SET_ARRAY
	/* ^^^ Preserved code "h_set" (end) */

	return ctr_config_h_set(items, ARRAY_SIZE(items), key, len, read_cb, cb_arg);
}

static int h_commit(void)
{
	LOG_DBG("Loaded settings in full");

	/* ### Preserved code "h_commit" (begin) */
	/* ^^^ Preserved code "h_commit" (end) */

	memcpy(&g_app_config, &m_config_interim, sizeof(g_app_config));
	return 0;
}

static int h_export(int (*export_func)(const char *name, const void *val, size_t val_len))
{
/* ### Preserved code "h_export" (begin) */
#define EXPORT_FUNC_ARRAY(_key, _var, _size)                                                       \
	do {                                                                                       \
		(void)export_func(SETTINGS_PFX "/" #_key, _var, _size);                            \
	} while (0)

	EXPORT_FUNC_ARRAY("address", &m_config_interim.address, sizeof(m_config_interim.address));

#undef EXPORT_FUNC_ARRAY
	/* ^^^ Preserved code "h_export" (end) */

	return ctr_config_h_export(items, ARRAY_SIZE(items), export_func);
}

static int init(void)
{
	int ret;

	LOG_INF("System initialization");

	for (int i = 0; i < ARRAY_SIZE(items); i++) {
		ctr_config_init_item(&items[i]);
	}

	static struct settings_handler sh = {
		.name = SETTINGS_PFX,
		.h_set = h_set,
		.h_commit = h_commit,
		.h_export = h_export,
	};

	ret = settings_register(&sh);
	if (ret) {
		LOG_ERR("Call `settings_register` failed: %d", ret);
		return ret;
	}

	ret = settings_load_subtree(SETTINGS_PFX);
	if (ret) {
		LOG_ERR("Call `settings_load_subtree` failed: %d", ret);
		return ret;
	}

	/* ### Preserved code "init" (begin) */
	/* ^^^ Preserved code "init" (end) */

	ctr_config_append_show(SETTINGS_PFX, app_config_cmd_config_show);

	return 0;
}

SYS_INIT(init, APPLICATION, CONFIG_APPLICATION_INIT_PRIORITY);
```

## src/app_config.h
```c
/*
 * Copyright (c) 2024 HARDWARIO a.s.
 *
 * SPDX-License-Identifier: LicenseRef-HARDWARIO-5-Clause
 */

#ifndef APP_CONFIG_H_
#define APP_CONFIG_H_

/* Zephyr includes */
#include <zephyr/shell/shell.h>

/* Standard includes */
#include <stdbool.h>
#include <stddef.h>

/* ### Preserved code "includes" (begin) */
#include "wmbus.h"
/* ^^^ Preserved code "includes" (end) */

#ifdef __cplusplus
extern "C" {
#endif

enum app_config_mode {
	APP_CONFIG_MODE_NONE = 0,
	APP_CONFIG_MODE_LTE = 1,
};

enum app_config_scan_mode {
	APP_CONFIG_SCAN_MODE_OFF = 0,
	APP_CONFIG_SCAN_MODE_INTERVAL = 1,
	APP_CONFIG_SCAN_MODE_DAILY = 2,
	APP_CONFIG_SCAN_MODE_WEEKLY = 3,
	APP_CONFIG_SCAN_MODE_MONTHLY = 4,
};

enum app_config_scan_ant {
	APP_CONFIG_SCAN_ANT_SINGLE = 0,
	APP_CONFIG_SCAN_ANT_DUAL = 1,
};

struct app_config {
	int scan_timeout;
	int scan_interval;
	int scan_hour;
	int scan_weekday;
	int scan_day;
	enum app_config_scan_mode scan_mode;
	enum app_config_scan_ant scan_ant;
	int poll_interval;
	int downlink_wdg_interval;
	bool cloud_decode;

	enum app_config_mode mode;

	/* ### Preserved code "struct variables" (begin) */
	uint32_t address[DEVICE_MAX_COUNT];
	/* ^^^ Preserved code "struct variables" (end) */
};

extern struct app_config g_app_config;

int app_config_cmd_config_show(const struct shell *shell, size_t argc, char **argv);
int app_config_cmd_config_mode(const struct shell *shell, size_t argc, char **argv);

int app_config_cmd_config(const struct shell *shell, size_t argc, char **argv);

/* ### Preserved code "functions" (begin) */
int app_config_clear_address(void);
int app_config_enroll_save(void);
/* ^^^ Preserved code "functions" (end) */

#ifdef __cplusplus
}
#endif

#endif /* APP_CONFIG_H_ */
```

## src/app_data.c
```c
/*
 * Copyright (c) 2024 HARDWARIO a.s.
 *
 * SPDX-License-Identifier: LicenseRef-HARDWARIO-5-Clause
 */

#include "app_data.h"

/* Zephyr includes */
#include <zephyr/kernel.h>

/* Standard includes */
#include <limits.h>
#include <math.h>
#include <stdbool.h>

/*
 * Keep `g_app_data` zero-initialized so it is placed in `.bss` (RAM only).
 * Non-zero initializers (NAN, INT_MAX) would move the whole structure to
 * `.data`, which occupies the same amount of FLASH and is copied on boot.
 * Non-zero defaults are set at runtime in `app_data_init()` instead.
 */
struct app_data g_app_data;

static K_MUTEX_DEFINE(m_lock);

int app_data_init(void)
{
	app_data_lock();

#if defined(FEATURE_SUBSYSTEM_ACCEL)
	g_app_data.accel_acceleration_x = NAN;
	g_app_data.accel_acceleration_y = NAN;
	g_app_data.accel_acceleration_z = NAN;
	g_app_data.accel_orientation = INT_MAX;
#endif /* defined(FEATURE_SUBSYSTEM_ACCEL) */
	g_app_data.therm_temperature = NAN;

	app_data_unlock();

	return 0;
}

void app_data_lock(void)
{
	k_mutex_lock(&m_lock, K_FOREVER);
}

void app_data_unlock(void)
{
	k_mutex_unlock(&m_lock);
}
```

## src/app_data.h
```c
/*
 * Copyright (c) 2024 HARDWARIO a.s.
 *
 * SPDX-License-Identifier: LicenseRef-HARDWARIO-5-Clause
 */

#ifndef APP_DATA_H_
#define APP_DATA_H_

/* Zephyr includes */
#include <zephyr/kernel.h>

/* Standard includes */
#include <stdbool.h>

#ifdef __cplusplus
extern "C" {
#endif

#define APP_DATA_MAX_BACKUP_EVENTS 32

struct app_data {
	float therm_temperature;
#if defined(FEATURE_SUBSYSTEM_ACCEL)
	float accel_acceleration_x;
	float accel_acceleration_y;
	float accel_acceleration_z;
	int accel_orientation;
#endif /* defined(FEATURE_SUBSYSTEM_ACCEL) */

	atomic_t antenna_dual;
	atomic_t scan_transaction;
	atomic_t send_index;

	/* Control triggers/flags */
	atomic_t scan_trigger;
	atomic_t working_flag;
	atomic_t send_flag;

	atomic_t enroll_mode;
	int enroll_timeout;
	int enroll_rssi_threshold;

	int64_t scan_start_timestamp;
	int64_t scan_stop_timestamp;
	bool scan_all;
};

extern struct app_data g_app_data;

int app_data_init(void);
void app_data_lock(void);
void app_data_unlock(void);

#ifdef __cplusplus
}
#endif

#endif /* APP_DATA_H_ */
```

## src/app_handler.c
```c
/*
 * Copyright (c) 2024 HARDWARIO a.s.
 *
 * SPDX-License-Identifier: LicenseRef-HARDWARIO-5-Clause
 */

#include "app_config.h"
#include "app_data.h"
#include "app_handler.h"
#include "app_init.h"
#include "app_work.h"

/* CHESTER includes */
#include <chester/ctr_button.h>
#include <chester/ctr_led.h>
#include <chester/ctr_lte.h>
#include <chester/ctr_rtc.h>

/* Zephyr includes */
#include <zephyr/device.h>
#include <zephyr/devicetree.h>
#include <zephyr/kernel.h>
#include <zephyr/logging/log.h>
#include <zephyr/sys/reboot.h>

/* Standard includes */
#include <inttypes.h>
#include <math.h>
#include <stdbool.h>
#include <stddef.h>

LOG_MODULE_REGISTER(app_handler, LOG_LEVEL_DBG);

#if defined(FEATURE_SUBSYSTEM_BUTTON)

static void app_load_timer_handler(struct k_timer *timer)
{
	ctr_led_set(CTR_LED_CHANNEL_LOAD, 0);
}

K_TIMER_DEFINE(app_load_timer, app_load_timer_handler, NULL);

void app_handler_ctr_button(enum ctr_button_channel chan, enum ctr_button_event ev, int val,
			    void *user_data)
{
	int ret;

	if (chan != CTR_BUTTON_CHANNEL_INT) {
		return;
	}

	if (ev == CTR_BUTTON_EVENT_CLICK) {
		for (int i = 0; i < val; i++) {
			ret = ctr_led_set(CTR_LED_CHANNEL_Y, true);
			if (ret) {
				LOG_ERR("Call `ctr_led_set` failed: %d", ret);
				return;
			}

			k_sleep(K_MSEC(50));
			ret = ctr_led_set(CTR_LED_CHANNEL_Y, false);
			if (ret) {
				LOG_ERR("Call `ctr_led_set` failed: %d", ret);
				return;
			}

			k_sleep(K_MSEC(200));
		}

		switch (val) {
		case 1:
			app_work_send_trigger();
			break;
		case 2:
			app_work_scan_trigger();
			break;
		case 3:
			app_work_scan_timeout();
			break;
		case 4:
			sys_reboot(SYS_REBOOT_COLD);
			break;
		case 5:
			ret = ctr_led_set(CTR_LED_CHANNEL_LOAD, 1);
			if (ret) {
				LOG_ERR("Call `ctr_led_set` failed: %d", ret);
				return;
			}
			k_timer_start(&app_load_timer, K_MINUTES(2), K_FOREVER);
			break;
		}
	}
}

#endif /* defined(FEATURE_SUBSYSTEM_BUTTON) */
```

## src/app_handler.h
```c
/*
 * Copyright (c) 2024 HARDWARIO a.s.
 *
 * SPDX-License-Identifier: LicenseRef-HARDWARIO-5-Clause
 */

#ifndef APP_HANDLER_H_
#define APP_HANDLER_H_

/* CHESTER includes */
#include <chester/ctr_button.h>
#include <chester/ctr_lrw.h>
#include <chester/ctr_lte.h>

/* Zephyr includes */
#include <zephyr/device.h>

#ifdef __cplusplus
extern "C" {
#endif

void app_handler_lrw(enum ctr_lrw_event event, union ctr_lrw_event_data *data, void *param);
void app_handler_lte(enum ctr_lte_event event, union ctr_lte_event_data *data, void *param);
void app_handler_ctr_button(enum ctr_button_channel chan, enum ctr_button_event ev, int val,
			    void *user_data);

#ifdef __cplusplus
}
#endif

#endif /* APP_HANDLER_H_ */
```

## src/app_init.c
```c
/*
 * Copyright (c) 2024 HARDWARIO a.s.
 *
 * SPDX-License-Identifier: LicenseRef-HARDWARIO-5-Clause
 */

#include "app_codec.h"
#include "app_config.h"
#include "app_data.h"
#include "app_handler.h"
#include "app_init.h"
#include "app_work.h"

/* CHESTER includes */
#include <chester/ctr_button.h>
#include <chester/ctr_cloud.h>
#include <chester/ctr_led.h>
#include <chester/ctr_lrw.h>
#include <chester/ctr_power.h>
#include <chester/ctr_wdog.h>

/* Zephyr includes */
#include <zephyr/device.h>
#include <zephyr/devicetree.h>
#include <zephyr/kernel.h>
#include <zephyr/logging/log.h>
#include <zephyr/drivers/hwinfo.h>

/* Standard includes */
#include <stdbool.h>
#include <stddef.h>
#include <stdint.h>

LOG_MODULE_REGISTER(app_init, LOG_LEVEL_DBG);

K_SEM_DEFINE(g_app_init_sem, 0, 1);

#if defined(FEATURE_SUBSYSTEM_WDOG)
struct ctr_wdog_channel g_app_wdog_channel;
#endif /* defined(FEATURE_SUBSYSTEM_WDOG) */

K_THREAD_STACK_DEFINE(led_thread_stack, 512);
struct k_thread led_thread_data;

void led_thread(void *param1, void *param2, void *param3)
{
	k_thread_name_set(NULL, "led_thread");

	for (;;) {

		if (atomic_set(&g_app_data.send_flag, false)) {
			ctr_led_set(CTR_LED_CHANNEL_R, true);
			k_sleep(K_MSEC(500));
			ctr_led_set(CTR_LED_CHANNEL_R, false);
			k_sleep(K_MSEC(500));
		}

		if (atomic_get(&g_app_data.working_flag)) {
			/* Faster yellow blink when scanning */
			ctr_led_set(CTR_LED_CHANNEL_Y, true);
			k_sleep(K_MSEC(50));
			ctr_led_set(CTR_LED_CHANNEL_Y, false);

			/* When dual antenna scan is used and second antenna is scanning, blink
			 * twice*/
			if (g_app_config.scan_ant == 1 && !g_app_data.antenna_dual) {
				k_sleep(K_MSEC(200));

				ctr_led_set(CTR_LED_CHANNEL_Y, true);
				k_sleep(K_MSEC(50));
				ctr_led_set(CTR_LED_CHANNEL_Y, false);
				k_sleep(K_MSEC(50));
			}

			k_sleep(K_MSEC(2000));
		} else {
			if (g_app_config.mode == APP_CONFIG_MODE_NONE) {
				ctr_led_set(CTR_LED_CHANNEL_Y, true);
				k_sleep(K_MSEC(30));
				ctr_led_set(CTR_LED_CHANNEL_Y, false);
			} else {
				ctr_led_set(CTR_LED_CHANNEL_G, true);
				k_sleep(K_MSEC(30));
				ctr_led_set(CTR_LED_CHANNEL_G, false);
			}
			k_sleep(K_MSEC(5000));
		}
	}
}

int app_init(void)
{
	int ret;

	ret = app_data_init();
	if (ret) {
		LOG_ERR("Call `app_data_init` failed: %d", ret);
		return ret;
	}

	ctr_led_set(CTR_LED_CHANNEL_R, true);

	uint32_t cause;

	ret = hwinfo_get_reset_cause(&cause);
	if (ret) {
		LOG_ERR("Call `hwinfo_get_reset_cause` failed: %d", ret);
		return ret;
	}

	LOG_INF("Reset reason 0x%02X", cause);

	ret = hwinfo_clear_reset_cause();
	if (ret) {
		LOG_ERR("Call `hwinfo_clear_reset_cause` failed: %d", ret);
		return ret;
	}

	ret = wmbus_init();
	if (ret) {
		LOG_ERR("Call `wmbus_init` failed: %d", ret);
		return ret;
	}

#if defined(FEATURE_SUBSYSTEM_WDOG)
	ret = ctr_wdog_set_timeout(20 * 60 * 1000);
	if (ret) {
		LOG_ERR("Call `ctr_wdog_set_timeout` failed: %d", ret);
		return ret;
	}

	ret = ctr_wdog_install(&g_app_wdog_channel);
	if (ret) {
		LOG_ERR("Call `ctr_wdog_install` failed: %d", ret);
		return ret;
	}

	ret = ctr_wdog_start();
	if (ret) {
		LOG_ERR("Call `ctr_wdog_start` failed: %d", ret);
		return ret;
	}
#endif /* defined(FEATURE_SUBSYSTEM_WDOG) */

#if defined(FEATURE_SUBSYSTEM_BUTTON)
	ret = ctr_button_set_event_cb(app_handler_ctr_button, NULL);
	if (ret) {
		LOG_ERR("Call `ctr_button_set_event_cb` failed: %d", ret);
		return ret;
	}
#endif /* defined(FEATURE_SUBSYSTEM_BUTTON) */

	switch (g_app_config.mode) {
#if defined(FEATURE_SUBSYSTEM_CLOUD)
	case APP_CONFIG_MODE_LTE:
		CODEC_CLOUD_OPTIONS_STATIC(copt);

		ret = ctr_cloud_init(&copt);
		if (ret) {
			LOG_ERR("Call `ctr_cloud_init` failed: %d", ret);
			return ret;
		}

		if (g_app_config.poll_interval) {
			ret = ctr_cloud_set_poll_interval(K_SECONDS(g_app_config.poll_interval));
			if (ret) {
				LOG_ERR("Call `ctr_cloud_set_poll_interval` failed: %d", ret);
				return ret;
			}
		}

		while (true) {
			ret = ctr_cloud_wait_initialized(K_SECONDS(60));
			if (!ret) {
				break;
			} else {
				if (ret == -ETIMEDOUT) {
					LOG_INF("Waiting for cloud initialization");
				} else {
					LOG_ERR("Call `ctr_cloud_wait_initialized` failed: %d",
						ret);
					return ret;
				}
			}

			ret = ctr_wdog_feed(&g_app_wdog_channel);
			if (ret) {
				LOG_ERR("Call `ctr_wdog_feed` failed: %d", ret);
				return ret;
			}
		}
		break;
#endif /* defined(FEATURE_SUBSYSTEM_CLOUD) */
	default:
		break;
	}

	ctr_led_set(CTR_LED_CHANNEL_R, false);

#if defined(FEATURE_SUBSYSTEM_POWER)
	ret = ctr_power_init(NULL, NULL);
	if (ret) {
		LOG_ERR("Call `ctr_power_init` failed: %d", ret);
		return ret;
	}
#endif /* defined(FEATURE_SUBSYSTEM_POWER) */

	ret = app_work_init();
	if (ret) {
		LOG_ERR("Call `app_work_init` failed: %d", ret);
		return ret;
	}

	k_thread_create(&led_thread_data, led_thread_stack, K_THREAD_STACK_SIZEOF(led_thread_stack),
			led_thread, NULL, NULL, NULL, 5, 0, K_NO_WAIT);

	return 0;
}
```

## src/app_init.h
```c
/*
 * Copyright (c) 2024 HARDWARIO a.s.
 *
 * SPDX-License-Identifier: LicenseRef-HARDWARIO-5-Clause
 */

#ifndef APP_INIT_H_
#define APP_INIT_H_

/* Zephyr includes */
#include <zephyr/kernel.h>

#ifdef __cplusplus
extern "C" {
#endif

int app_init(void);

#ifdef __cplusplus
}
#endif

#endif /* APP_INIT_H_ */
```

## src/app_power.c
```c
/*
 * Copyright (c) 2024 HARDWARIO a.s.
 *
 * SPDX-License-Identifier: LicenseRef-HARDWARIO-5-Clause
 */

#include "app_data.h"
#include "app_power.h"

/* CHESTER includes */
#include <chester/drivers/ctr_batt.h>

/* Zephyr includes */
#include <zephyr/device.h>
#include <zephyr/devicetree.h>
#include <zephyr/kernel.h>
#include <zephyr/logging/log.h>

/* Standard includes */
#include <errno.h>
#include <math.h>

#if defined(FEATURE_SUBSYSTEM_BATT)

LOG_MODULE_REGISTER(app_power, LOG_LEVEL_DBG);

int app_power_sample(void)
{
	int ret;

	static const struct device *dev = DEVICE_DT_GET(DT_NODELABEL(ctr_batt));

	if (!device_is_ready(dev)) {
		LOG_ERR("Device not ready");
		ret = -ENODEV;
		goto error;
	}

	int rest_mv;
	ret = ctr_batt_get_rest_voltage_mv(dev, &rest_mv, CTR_BATT_REST_TIMEOUT_DEFAULT_MS);
	if (ret) {
		LOG_ERR("Call `ctr_batt_get_rest_voltage_mv` failed: %d", ret);
		goto error;
	}

	int load_mv;
	ret = ctr_batt_get_load_voltage_mv(dev, &load_mv, CTR_BATT_LOAD_TIMEOUT_DEFAULT_MS);
	if (ret) {
		LOG_ERR("Call `ctr_batt_get_load_voltage_mv` failed: %d", ret);
		goto error;
	}

	int current_ma;
	ctr_batt_get_load_current_ma(dev, &current_ma, load_mv);

	LOG_INF("Battery voltage (rest): %d mV", rest_mv);
	LOG_INF("Battery voltage (load): %d mV", load_mv);
	LOG_INF("Battery current (load): %d mA", current_ma);

	app_data_lock();

	g_app_data.system_voltage_rest = rest_mv;
	g_app_data.system_voltage_load = load_mv;
	g_app_data.system_current_load = current_ma;

	app_data_unlock();

	return 0;

error:
	app_data_lock();

	g_app_data.system_voltage_rest = NAN;
	g_app_data.system_voltage_load = NAN;
	g_app_data.system_current_load = NAN;

	app_data_unlock();

	return ret;
}
#endif /* defined(FEATURE_SUBSYSTEM_BATT) */
```
